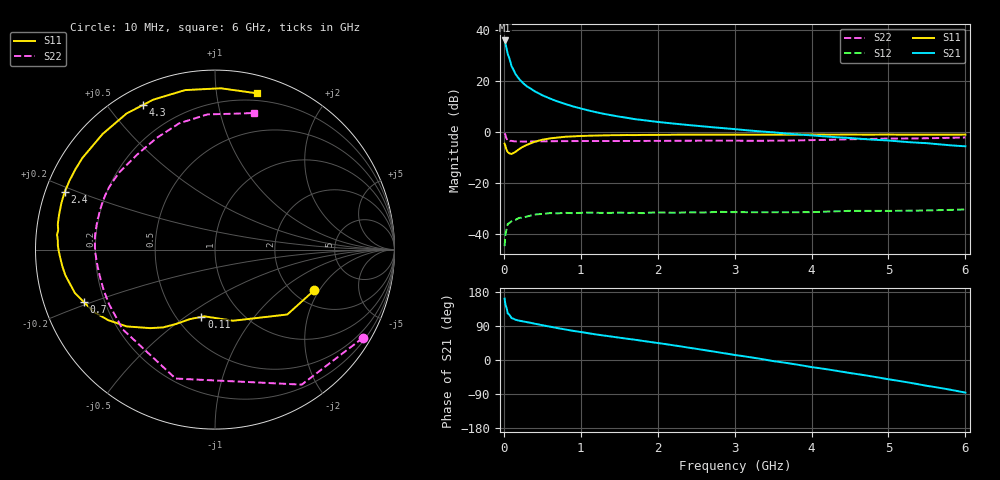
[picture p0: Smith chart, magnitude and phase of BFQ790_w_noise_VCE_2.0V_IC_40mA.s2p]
! Infineon Technologies  Discrete & RF Semiconductors
! BFQ790
! VCE =  2.0 V,  IC =  40 mA
! Common Emitter S-Parameters:  May 2015
# GHz  S  MA  R  50
!  f  S11  S21  S12  S22
! GHz  MAG  ANG  MAG  ANG  MAG  ANG  MAG  ANG
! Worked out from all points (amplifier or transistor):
!   77 points, 10 MHz to 6 GHz, reference 50 ohm
!   highest |S21| = 36.1 dB at 10 MHz (marker M1)
!   |S21| within 3 dB of that: start of sweep to 34.29 MHz
!   unconditionally stable (mu >= 1): 1.642 GHz to end of sweep
!   at 130 MHz: K = 0.68, MSG = 29.4 dB, |S12| = -34.6 dB
!   at 2.2 GHz: K = 1.11, MAG = 15.5 dB, |S12| = -31.6 dB
!   at 6 GHz: K = 1.82, MAG = 7.2 dB, |S12| = -30.3 dB
!   lowest NFmin = 2.18 dB at 900 MHz
!   S11 on the Smith chart (normalised r, x): 10 MHz: 2.55, -1.80; 110 MHz: 0.66, -0.58; 700 MHz: 0.12, -0.19; 2.4 GHz: 0.06, +0.18; 4.3 GHz: 0.07, +0.62; 6 GHz: 0.14, +1.30
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0.01  0.5971 -22.4  63.59 162.0  0.0058 69.2  0.9597 -30.8
0.02  0.5413 -41.9  56.17 146.9  0.0098 60.4  0.8941 -57.3
0.05  0.4089 -75.8  34.79 123.0  0.0157 34.4  0.7513 -107.0
0.1  0.3764 -99.1  19.88 110.5  0.0179 21.0  0.6797 -139.3
0.11  0.3824 -101.4  18.71 109.9  0.0181 20.7  0.6736 -141.9
0.15  0.4123 -110.0  14.05 106.4  0.019 19.7  0.6639 -152.7
0.2  0.4677 -117.6  11.07 103.8  0.0209 19.2  0.66 -160.0
0.25  0.5209 -123.7  9.245 101.9  0.021 15.8  0.6582 -164.6
0.3  0.5671 -129.5  7.976 99.9  0.0222 13.2  0.6589 -168.1
0.4  0.6524 -139.0  6.391 95.8  0.0243 11.7  0.6615 -172.9
0.5  0.7135 -146.6  5.339 91.8  0.0249 6.9  0.6643 -176.4
0.7  0.7879 -158.3  4.018 84.1  0.0256 4.2  0.6693 178.3
0.9  0.8314 -167.0  3.219 76.9  0.0258 -1.6  0.672 174.8
1.1  0.8553 -173.7  2.687 70.6  0.0265 -4.4  0.6731 171.6
1.5  0.8776 176.5  2.031 59.0  0.0265 -9.3  0.6734 166.5
2.1  0.8918 165.2  1.54 42.0  0.0265 -16.4  0.6789 158.4
2.4  0.897 159.1  1.389 32.6  0.0268 -20.6  0.6827 153.4
3.1  0.8955 143.2  1.117 10.5  0.027 -28.8  0.6826 138.6
4.1  0.9017 120.9  0.846 -21.5  0.0273 -38.7  0.7052 115.2
4.3  0.9 116.6  0.804 -27.7  0.028 -40.7  0.7159 110.4
5.1  0.8996 98.1  0.67 -54.0  0.0287 -52.1  0.7542 91.0
6  0.9016 74.9  0.531 -86.0  0.0305 -64.9  0.7908 74.2
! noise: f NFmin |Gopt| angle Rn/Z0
0.45  2.74  0.31  109  0.35
0.9  2.18  0.46  155  0.14
1.5  2.29  0.62  -180  0.07
1.8  2.51  0.66  -173  0.07
2.6  3.27  0.73  -155  0.19
3.5  4.02  0.86  -137  0.55
